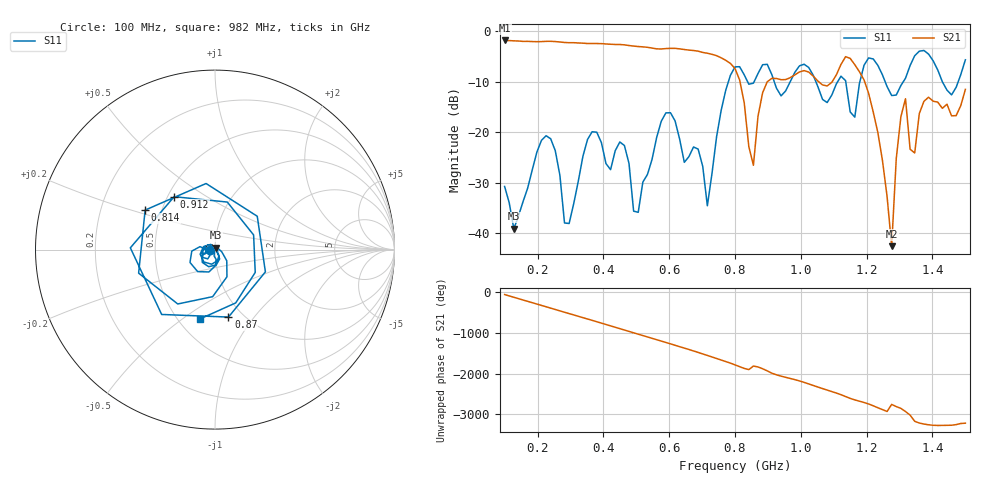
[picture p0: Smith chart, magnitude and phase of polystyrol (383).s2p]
! NanoVNA-App
! Date: 2025-09-25 15:32:52
! Start: 100MHz Stop: 1,5GHz Points: 101
! S-Parameter data: F S11 S21 S12 S22
# Hz S RI R 50
!  Frequency  S11_Real  S11_Imag  S21_Real  S21_Imag  S12_Real  S12_Imag  S22_Real  S22_Imag
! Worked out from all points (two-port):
!   101 points, 100 MHz to 1.5 GHz, reference 50 ohm
!   highest |S21| = -1.80 dB at 100 MHz (marker M1); lowest = -42.5 dB at 1.276 GHz (marker M2)
!   |S21| within 3 dB of the highest: start of sweep to 743.3 MHz
!   lowest |S11| = -39.1 dB at 128 MHz (marker M3), VSWR 1.02, Z = 50.3 + j1.06 ohm
!   |S11| at or under -10 dB: start of sweep to 779.8 MHz; 1.046 GHz to 1.112 GHz (65.64 MHz wide, 6.09 % of centre); 1.256 GHz to 1.311 GHz (54.6 MHz wide, 4.25 % of centre) (the widest 3 of 7)
!   S12 and S22 are empty: the file has one direction only
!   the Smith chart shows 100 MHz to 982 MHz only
!   S11 on the Smith chart (normalised r, x): 100 MHz: 0.94, -0.01; 814 MHz: 0.40, +0.22; 870 MHz: 0.86, -0.75; 912 MHz: 0.54, +0.37; 982 MHz: 0.64, -0.58
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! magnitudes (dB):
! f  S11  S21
! 100 MHz  -30.7  -1.8
! 128 MHz  -39.1  -1.9
! 212 MHz  -21.6  -2.0
! 282 MHz  -37.9  -2.2
! 338 MHz  -24.7  -2.3
! 464 MHz  -22.6  -2.7
! 506 MHz  -35.8  -3.0
! 576 MHz  -17.8  -3.5
! 716 MHz  -34.5  -4.3
! 800 MHz  -7.0  -7.4
! 814 MHz  -7.0  -9.6
! 856 MHz  -10.3  -26.5
! 870 MHz  -8.3  -16.7
! 912 MHz  -8.6  -9.3
! 982 MHz  -8.1  -8.6
! 1.038 GHz  -8.7  -8.9
! 1.164 GHz  -17.0  -6.6
! 1.192 GHz  -6.7  -9.6
! 1.276 GHz  -12.7  -42.5
! 1.318 GHz  -9.3  -13.3
! 1.346 GHz  -4.8  -24.1
! 1.5 GHz  -5.6  -11.5
